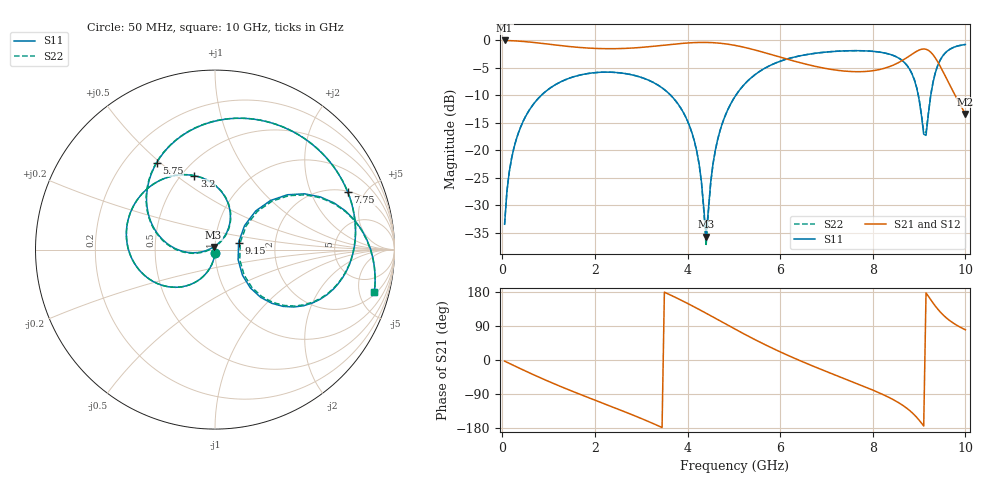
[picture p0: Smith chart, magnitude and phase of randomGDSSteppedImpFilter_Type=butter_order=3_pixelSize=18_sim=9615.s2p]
! freq	dB(S11)	phase(S11)	dB(S12)	phase(S12)
!  dB(S21)	phase(S21)	dB(S22)	phase(S22)
!S-par simulation data
#  GHz  S  DB  R 50
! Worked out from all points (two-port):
!   200 points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, 50 MHz to 10 GHz, reference 50 ohm
!   highest |S21| = -0.01 dB at 50 MHz (marker M1); lowest = -13.4 dB at 10 GHz (marker M2)
!   |S21| within 3 dB of the highest: start of sweep to 5.986 GHz; 8.759 GHz to 9.336 GHz (576.9 MHz wide, 6.38 % of centre)
!   lowest |S11| = -35.7 dB at 4.4 GHz (marker M3), VSWR 1.03, Z = 49.2 + j1.42 ohm
!   |S11| at or under -10 dB: start of sweep to 840 MHz; 3.64 GHz to 5.041 GHz (1.401 GHz wide, 32.3 % of centre); 8.982 GHz to 9.252 GHz (269.6 MHz wide, 2.96 % of centre)
!   |S22| runs from -37.4 to -0.7 dB; largest |S21 - S12| = 0
!   S11 on the Smith chart (normalised r, x): 50 MHz: 1.00, -0.04; 3.2 GHz: 0.58, +0.58; 5.75 GHz: 0.33, +0.49; 7.75 GHz: 2.06, +3.76; 9.15 GHz: 1.30, +0.10; 10 GHz: 2.31, -6.96
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0.05  -33.41 -93.0  -0.01 -3.0  -0.01 -3.0  -33.41 -93.0
0.2  -21.46 -102.2  -0.05 -11.8  -0.05 -11.8  -21.46 -102.2
0.5  -13.86 -119.6  -0.22 -29.1  -0.22 -29.1  -13.86 -119.6
1.1  -8.28 -152.3  -0.78 -61.7  -0.78 -61.7  -8.28 -152.3
1.75  -6.16 175.5  -1.33 -94.0  -1.33 -94.0  -6.16 175.4
3.2  -7.38 105.6  -1.12 -164.6  -1.12 -164.6  -7.38 105.4
3.4  -8.33 95.1  -0.95 -175.4  -0.95 -175.4  -8.33 94.9
4.1  -16.91 58.0  -0.41 143.0  -0.41 143.0  -16.92 56.9
4.3  -25.62 56.8  -0.36 130.1  -0.36 130.1  -25.76 53.8
4.4  -35.69 118.6  -0.36 123.5  -0.36 123.5  -37.39 118.0
4.5  -25.78 -173.1  -0.39 116.8  -0.39 116.8  -25.92 -169.8
4.6  -19.95 -170.5  -0.43 110.1  -0.43 110.1  -19.99 -168.7
5.05  -9.88 166.1  -0.94 79.9  -0.94 79.9  -9.88 166.7
5.75  -4.69 123.9  -2.43 35.9  -2.43 35.9  -4.69 124.3
6.7  -2.40 73.2  -4.60 -15.7  -4.60 -15.7  -2.40 73.5
7.75  -1.87 23.4  -5.68 -66.8  -5.68 -66.8  -1.87 23.7
8.35  -2.47 -6.7  -4.80 -98.8  -4.80 -98.8  -2.47 -6.3
8.85  -6.13 -39.8  -2.49 -139.1  -2.49 -139.1  -6.10 -39.0
9.15  -17.26 16.7  -1.60 177.0  -1.60 177.0  -16.73 15.4
9.4  -4.62 31.9  -3.85 134.8  -3.85 134.8  -4.60 31.2
9.65  -1.69 7.8  -7.88 105.1  -7.88 105.1  -1.68 7.5
10  -0.74 -14.8  -13.36 79.7  -13.36 79.7  -0.73 -15.0
